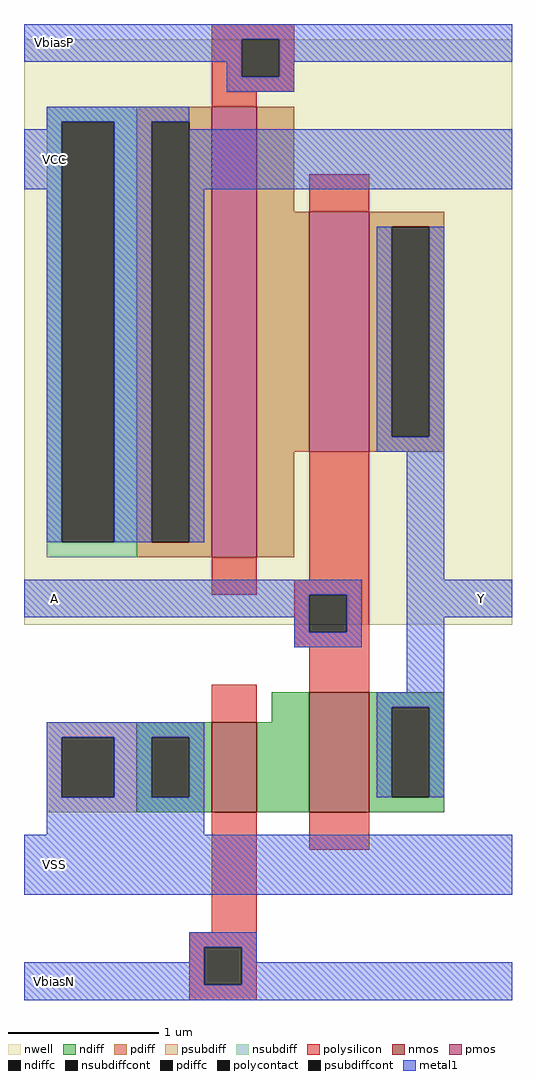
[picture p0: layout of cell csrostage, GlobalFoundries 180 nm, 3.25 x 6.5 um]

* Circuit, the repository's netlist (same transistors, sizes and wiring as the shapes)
** sch_path: /home/anton/projects/ttgf-algofoogle-analog/xschem/csrostage.sch
.subckt csrostage VCC VSS VbiasP A Y VbiasN
*.PININFO VCC:B VSS:B A:I Y:O VbiasP:I VbiasN:I
XMNi Y A net1 VSS nfet_03v3 L=0.40u W=0.80u nf=1 ad='int((nf+1)/2) * W/nf * 0.18u' as='int((nf+2)/2) * W/nf * 0.18u' pd='2*int((nf+1)/2) * (W/nf + 0.18u)'
+ ps='2*int((nf+2)/2) * (W/nf + 0.18u)' nrd='0.18u / W' nrs='0.18u / W' sa=0 sb=0 sd=0
XMPi Y A net2 VCC pfet_03v3 L=0.40u W=1.60u nf=1 ad='int((nf+1)/2) * W/nf * 0.18u' as='int((nf+2)/2) * W/nf * 0.18u' pd='2*int((nf+1)/2) * (W/nf + 0.18u)'
+ ps='2*int((nf+2)/2) * (W/nf + 0.18u)' nrd='0.18u / W' nrs='0.18u / W' sa=0 sb=0 sd=0
XMPL net2 VbiasP VCC VCC pfet_03v3 L=0.30u W=3.00u nf=1 ad='int((nf+1)/2) * W/nf * 0.18u' as='int((nf+2)/2) * W/nf * 0.18u' pd='2*int((nf+1)/2) * (W/nf + 0.18u)'
+ ps='2*int((nf+2)/2) * (W/nf + 0.18u)' nrd='0.18u / W' nrs='0.18u / W' sa=0 sb=0 sd=0
XMNL net1 VbiasN VSS VSS nfet_03v3 L=0.30u W=0.60u nf=1 ad='int((nf+1)/2) * W/nf * 0.18u' as='int((nf+2)/2) * W/nf * 0.18u' pd='2*int((nf+1)/2) * (W/nf + 0.18u)'
+ ps='2*int((nf+2)/2) * (W/nf + 0.18u)' nrd='0.18u / W' nrs='0.18u / W' sa=0 sb=0 sd=0
.ends

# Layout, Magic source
magic
tech gf180mcuD
<< nwell >>
rect -3 50 62 128
<< nmos >>
rect 22 25 28 37
rect 35 25 43 41
<< pmos >>
rect 22 59 28 119
rect 35 73 43 105
<< ndiff >>
rect 30 37 35 41
rect 12 35 22 37
rect 12 27 14 35
rect 19 27 22 35
rect 12 25 22 27
rect 28 25 35 37
rect 43 39 53 41
rect 43 27 46 39
rect 51 27 53 39
rect 43 25 53 27
<< pdiff >>
rect 12 117 22 119
rect 12 61 14 117
rect 19 61 22 117
rect 12 59 22 61
rect 28 105 33 119
rect 28 73 35 105
rect 43 103 53 105
rect 43 75 46 103
rect 51 75 53 103
rect 43 73 53 75
rect 28 59 33 73
<< ndiffc >>
rect 14 27 19 35
rect 46 27 51 39
<< pdiffc >>
rect 14 61 19 117
rect 46 75 51 103
<< psubdiff >>
rect 0 35 12 37
rect 0 27 2 35
rect 9 27 12 35
rect 0 25 12 27
<< nsubdiff >>
rect 0 117 12 119
rect 0 61 2 117
rect 9 61 12 117
rect 0 59 12 61
<< psubdiffcont >>
rect 2 27 9 35
<< nsubdiffcont >>
rect 2 61 9 117
<< polysilicon >>
rect 22 128 33 130
rect 22 123 26 128
rect 31 123 33 128
rect 22 121 33 123
rect 22 119 28 121
rect 35 105 43 110
rect 22 54 28 59
rect 35 56 43 73
rect 33 54 43 56
rect 33 49 35 54
rect 40 49 43 54
rect 33 47 43 49
rect 22 37 28 42
rect 35 41 43 47
rect 22 9 28 25
rect 35 20 43 25
rect 19 7 28 9
rect 19 2 21 7
rect 26 2 28 7
rect 19 0 28 2
<< polycontact >>
rect 26 123 31 128
rect 35 49 40 54
rect 21 2 26 7
<< metal1 >>
rect -3 128 62 130
rect -3 125 26 128
rect 24 123 26 125
rect 31 125 62 128
rect 31 123 33 125
rect 24 121 33 123
rect 0 117 19 119
rect 0 116 2 117
rect -3 108 2 116
rect 0 61 2 108
rect 9 61 14 117
rect 19 108 62 116
rect 19 61 21 108
rect 44 75 46 103
rect 51 75 53 103
rect 44 73 53 75
rect 48 56 53 73
rect -3 54 42 56
rect -3 51 35 54
rect 33 49 35 51
rect 40 49 42 54
rect 33 47 42 49
rect 48 51 62 56
rect 48 41 53 51
rect 44 39 53 41
rect 0 35 21 37
rect 0 27 2 35
rect 9 27 14 35
rect 19 27 21 35
rect 44 27 46 39
rect 51 27 53 39
rect 0 22 21 27
rect -3 14 62 22
rect 19 7 28 9
rect 19 5 21 7
rect -3 2 21 5
rect 26 5 28 7
rect 26 2 62 5
rect -3 0 62 2
<< labels >>
flabel metal1 -3 108 5 116 0 FreeSans 16 0 0 0 VCC
port 0 nsew
flabel metal1 -3 125 5 130 0 FreeSans 12 0 0 0 VbiasP
port 1 nsew
flabel metal1 -3 14 5 22 0 FreeSans 16 0 0 0 VSS
port 2 nsew
flabel metal1 -3 0 5 5 0 FreeSans 12 0 0 0 VbiasN
port 3 nsew
flabel metal1 -3 51 5 56 0 FreeSans 24 0 0 0 A
port 4 nsew
flabel metal1 54 51 62 56 0 FreeSans 24 0 0 0 Y
port 5 nsew
<< properties >>
string FIXED_BBOX 0 0 56 130
<< end >>
